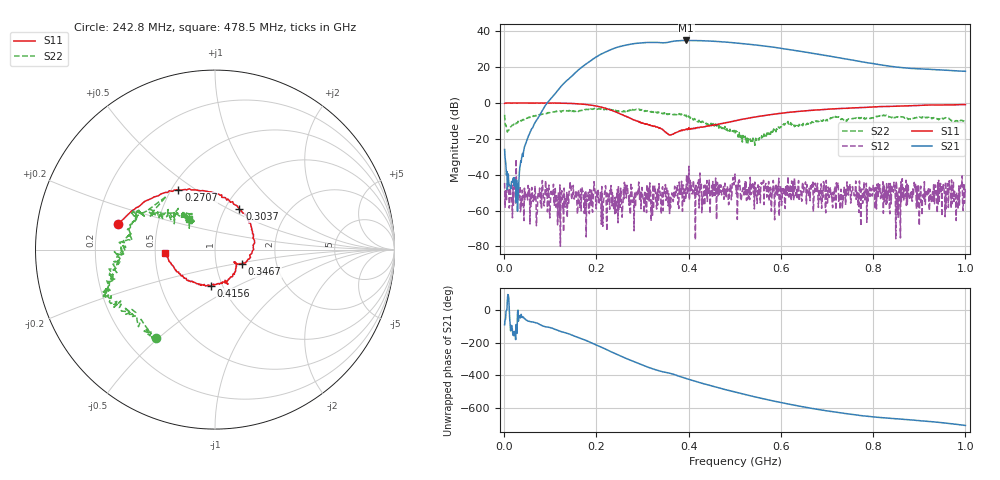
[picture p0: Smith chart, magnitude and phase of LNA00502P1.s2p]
! Created with skrf 1.9.0 (http://scikit-rf.org).
# Hz S RI R 50.0
!freq ReS11 ImS11 ReS21 ImS21 ReS12 ImS12 ReS22 ImS22
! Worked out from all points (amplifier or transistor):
!   1001 points, 1 MHz to 1 GHz, reference 50 ohm
!   highest |S21| = 34.9 dB at 394.6 MHz (marker M1)
!   |S21| within 3 dB of that: 256.7 MHz to 560.6 MHz (303.9 MHz wide, 74.4 % of centre)
!   unconditionally stable (mu >= 1): 24.61 MHz to 72.79 MHz; 231.8 MHz to 395.6 MHz; 400.9 MHz to end of sweep (the widest 3 of 32)
!   at 166.8 MHz: K = 3.75, MAG = 31.2 dB, |S12| = -60.1 dB
!   at 500.5 MHz: K = 1.09, MAG = 34.8 dB, |S12| = -39.6 dB
!   at 1 GHz: K = 3.57, MAG = 25.3 dB, |S12| = -49.7 dB
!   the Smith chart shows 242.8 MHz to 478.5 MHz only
!   S11 on the Smith chart (normalised r, x): 242.8 MHz: 0.29, +0.12; 270.7 MHz: 0.54, +0.43; 303.7 MHz: 1.16, +0.57; 346.7 MHz: 1.33, -0.23; 415.6 MHz: 0.88, -0.37; 478.5 MHz: 0.57, -0.02
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1000000  0.9725 -0.00357  -0.00168 -0.0506  -0.00397 0.00436  0.3765 0.2829
1.08892e8  0.5274 -0.8434  -0.8028 -1.521  0.000215 0.00139  0.41 -0.3766
1.67833e8  -0.2214 -0.9023  -9.84 -0.5643  0.00244 0.00262  0.0232 -0.6275
2.09791e8  -0.6602 -0.3897  -15.51 16.69  0.00186 -0.00132  -0.2161 -0.6363
2.42758e8  -0.5385 0.1405  0.081 34.71  0.000843 0.000267  -0.331 -0.4946
2.7073e8  -0.2036 0.3325  24.04 35.11  -0.00112 -0.000871  -0.533 -0.3234
3.03697e8  0.1356 0.227  45.46 15.25  0.000789 0.000341  -0.5791 -0.1601
3.34666e8  0.2044 -0.0225  47.51 -9.555  0.00173 0.000637  -0.534 -0.0417
3.46654e8  0.1496 -0.0821  44.87 -16.02  -0.000402 0.00274  -0.4977 0.0116
3.7063e8  0.1188 -0.0841  42.79 -31.88  -0.00248 0.00364  -0.4393 0.1655
3.94606e8  0.073 -0.1699  28.38 -47.44  0.000634 0.00485  -0.4126 0.1989
4.15585e8  -0.0221 -0.2028  12.63 -53.45  -0.00167 0.00479  -0.2605 0.2232
4.45555e8  -0.172 -0.156  -10.06 -52.08  0.0019 0.00253  -0.1771 0.1963
4.78522e8  -0.277 -0.0165  -29.45 -40.39  -0.00135 0.00565  -0.1424 0.1687
5.005e8  -0.3055 0.107  -37.37 -29.36  0.00722 0.00761  -0.0846 0.1113
5.4046e8  -0.2411 0.3191  -41.1 -8.257  0.00288 -0.000765  -0.094 0.016
5.88412e8  -0.051 0.4927  -33.32 11.31  0.00325 -0.00255  -0.16 -0.0728
6.27373e8  0.1327 0.5484  -22.52 19.15  0.000848 -0.00171  -0.2172 -0.0821
6.67333e8  0.3212 0.5345  -11.62 21.26  0.000498 -0.00528  -0.302 0.00931
7.46254e8  0.5946 0.3971  1.375 16.23  -0.00155 0.00221  -0.3234 0.1451
8.34166e8  0.7847 0.1624  5.47 9.159  -0.00466 -0.0033  -0.3154 0.2511
1e9  0.8184 -0.3802  7.379 1.999  0.000302 -0.00325  0.0259 0.3034
